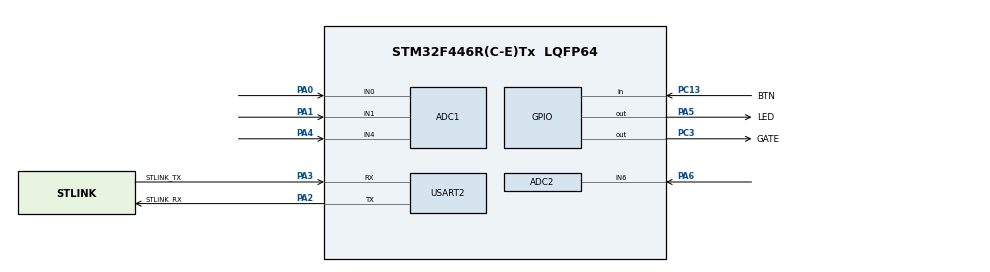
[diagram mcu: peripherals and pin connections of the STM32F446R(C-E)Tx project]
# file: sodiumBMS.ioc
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ADC1.Channel-0\#ChannelRegularConversion=ADC_CHANNEL_0
ADC1.Channel-1\#ChannelRegularConversion=ADC_CHANNEL_1
ADC1.Channel-2\#ChannelRegularConversion=ADC_CHANNEL_4
ADC1.ContinuousConvMode=ENABLE
ADC1.DMAContinuousRequests=ENABLE
ADC1.EOCSelection=ADC_EOC_SEQ_CONV
ADC1.InjNumberOfConversion=0
ADC1.NbrOfConversion=3
ADC1.NbrOfConversionFlag=1
ADC1.Rank-0\#ChannelRegularConversion=1
ADC1.Rank-1\#ChannelRegularConversion=2
ADC1.Rank-2\#ChannelRegularConversion=3
ADC1.SamplingTime-0\#ChannelRegularConversion=ADC_SAMPLETIME_144CYCLES
ADC1.SamplingTime-1\#ChannelRegularConversion=ADC_SAMPLETIME_144CYCLES
ADC1.SamplingTime-2\#ChannelRegularConversion=ADC_SAMPLETIME_144CYCLES
ADC1.ScanConvMode=ENABLE
ADC1.master=1
ADC2.Channel-0\#ChannelRegularConversion=ADC_CHANNEL_6
ADC2.NbrOfConversionFlag=1
ADC2.Rank-0\#ChannelRegularConversion=1
ADC2.SamplingTime-0\#ChannelRegularConversion=ADC_SAMPLETIME_3CYCLES
Dma.ADC1.0.Direction=DMA_PERIPH_TO_MEMORY
Dma.ADC1.0.FIFOMode=DMA_FIFOMODE_DISABLE
Dma.ADC1.0.Instance=DMA2_Stream0
Dma.ADC1.0.MemDataAlignment=DMA_MDATAALIGN_HALFWORD
Dma.ADC1.0.MemInc=DMA_MINC_ENABLE
Dma.ADC1.0.Mode=DMA_CIRCULAR
Dma.ADC1.0.PeriphDataAlignment=DMA_PDATAALIGN_HALFWORD
Dma.ADC1.0.PeriphInc=DMA_PINC_DISABLE
Dma.ADC1.0.Priority=DMA_PRIORITY_LOW
Dma.Request0=ADC1
Mcu.Family=STM32F4
Mcu.Name=STM32F446R(C-E)Tx
Mcu.Package=LQFP64
NVIC.DMA2_Stream0_IRQn=true\:0\:0\:false\:false\:true\:false\:true\:true
NVIC.PriorityGroup=NVIC_PRIORITYGROUP_4
PA0-WKUP.Signal=ADCx_IN0
PA1.Signal=ADCx_IN1
PA2.GPIO_Label=STLINK_RX
PA2.Mode=Asynchronous
PA2.Signal=USART2_TX
PA3.GPIO_Label=STLINK_TX
PA3.Mode=Asynchronous
PA3.Signal=USART2_RX
PA4.Signal=ADCx_IN4
PA5.GPIO_Label=LED
PA5.Signal=GPIO_Output
PA6.Signal=ADCx_IN6
PC13.GPIO_Label=BTN
PC13.GPIO_PuPd=GPIO_PULLUP
PC13.Signal=GPIO_Input
PC3.GPIO_Label=GATE
PC3.GPIO_PuPd=GPIO_NOPULL
PC3.Signal=GPIO_Output
ProjectManager.HeapSize=0x200
ProjectManager.StackSize=0x400
ProjectManager.TargetToolchain=CMake
RCC.CortexFreq_Value=16000000
RCC.USBFreq_Value=96000000
RCC.VCOOutputFreq_Value=192000000
SH.ADCx_IN0.0=ADC1_IN0,IN0
SH.ADCx_IN1.0=ADC1_IN1,IN1
SH.ADCx_IN4.0=ADC1_IN4,IN4
SH.ADCx_IN6.0=ADC2_IN6,IN6
USART2.VirtualMode=VM_ASYNC
board=custom

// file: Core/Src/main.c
/* USER CODE BEGIN Header */
/**
  ******************************************************************************
  * @file           : main.c
  * @brief          : Main program body
  ******************************************************************************
  * @attention
  *
  * Copyright (c) 2026 STMicroelectronics.
  * All rights reserved.
  *
  * This software is licensed under terms that can be found in the LICENSE file
  * in the root directory of this software component.
  * If no LICENSE file comes with this software, it is provided AS-IS.
  *
  ******************************************************************************
  */
/* USER CODE END Header */
#include "main.h"

/* USER CODE BEGIN Includes */
#include <stdio.h>
#include <string.h>

/* USER CODE END Includes */

ADC_HandleTypeDef hadc1;
ADC_HandleTypeDef hadc2;
DMA_HandleTypeDef hdma_adc1;

UART_HandleTypeDef huart2;

/* USER CODE BEGIN PV */
#define ADC_BUF_LEN 3
volatile uint8_t adc_ready = 0;
uint16_t volts=0;
char msg[64] = "THIS IS A AAAAAAAAAA";
uint16_t adc_buffer[ADC_BUF_LEN];
uint16_t cell1_voltage;
uint16_t cell2_voltage;
uint16_t cell3_voltage;
int bufferIndex = 0;
/* USER CODE END PV */

void SystemClock_Config(void);
static void MX_GPIO_Init(void);
static void MX_DMA_Init(void);
static void MX_USART2_UART_Init(void);
static void MX_ADC1_Init(void);
static void MX_ADC2_Init(void);

int main(void)
{

  /* MCU Configuration--------------------------------------------------------*/

  /* Reset of all peripherals, Initializes the Flash interface and the Systick. */
  HAL_Init();

  /* Configure the system clock */
  SystemClock_Config();

  /* Initialize all configured peripherals */
  MX_GPIO_Init();
  MX_DMA_Init();
  MX_USART2_UART_Init();
  MX_ADC1_Init();
  MX_ADC2_Init();
  /* USER CODE BEGIN 2 */
  snprintf(msg, sizeof(msg), "%s", "about to start adc\r\n");
  HAL_UART_Transmit(&huart2, (uint8_t *)msg, strlen(msg), 20);
  HAL_ADC_Start_DMA(&hadc1, (uint32_t *)adc_buffer, ADC_BUF_LEN);
  /* USER CODE END 2 */

  /* Infinite loop */
  /* USER CODE BEGIN WHILE */
  while (1)
  {

    uint16_t cell1_voltage = adc_buffer[0];
    sprintf(msg, "Potentiometer voltage: %hu \r\n", cell1_voltage);
    HAL_UART_Transmit(&huart2, (uint8_t *)msg, strlen(msg), HAL_MAX_DELAY);

    HAL_Delay(250);

    uint16_t cell2_voltage = adc_buffer[1];
    sprintf(msg, "Emitter voltage: %hu \r\n", cell2_voltage);
    HAL_UART_Transmit(&huart2, (uint8_t *)msg, strlen(msg), HAL_MAX_DELAY);

    uint16_t cell3_voltage = adc_buffer[2];
    sprintf(msg, "Voltage 3: %hu \r\n", cell3_voltage);

    HAL_UART_Transmit(&huart2, (uint8_t *)msg, strlen(msg), HAL_MAX_DELAY);

/*
    char *test = "Hello \r\n";
    HAL_UART_Transmit(&huart2, (uint8_t *)test, strlen(test), HAL_MAX_DELAY);
    */

    if (cell1_voltage > 2000) {

        HAL_GPIO_WritePin(GPIOC, GPIO_PIN_3, GPIO_PIN_RESET);
        char *status = "closing gate\r\n";
        HAL_UART_Transmit(&huart2, (uint8_t *)status, strlen(status), HAL_MAX_DELAY);

    }

    if (cell1_voltage < 2000) {
        HAL_GPIO_WritePin(GPIOC, GPIO_PIN_3, GPIO_PIN_SET);
        char *status = "opening gate\r\n";
        HAL_UART_Transmit(&huart2, (uint8_t *)status, strlen(status), HAL_MAX_DELAY);
    }

    /* USER CODE END WHILE */

  }
}

void SystemClock_Config(void)
{
  RCC_OscInitTypeDef RCC_OscInitStruct = {0};
  RCC_ClkInitTypeDef RCC_ClkInitStruct = {0};

  /** Configure the main internal regulator output voltage
  */
  __HAL_RCC_PWR_CLK_ENABLE();
  __HAL_PWR_VOLTAGESCALING_CONFIG(PWR_REGULATOR_VOLTAGE_SCALE3);

  /** Initializes the RCC Oscillators according to the specified parameters
  * in the RCC_OscInitTypeDef structure.
  */
  RCC_OscInitStruct.OscillatorType = RCC_OSCILLATORTYPE_HSI;
  RCC_OscInitStruct.HSIState = RCC_HSI_ON;
  RCC_OscInitStruct.HSICalibrationValue = RCC_HSICALIBRATION_DEFAULT;
  RCC_OscInitStruct.PLL.PLLState = RCC_PLL_NONE;
  if (HAL_RCC_OscConfig(&RCC_OscInitStruct) != HAL_OK)
  {
    Error_Handler();
  }

  /** Initializes the CPU, AHB and APB buses clocks
  */
  RCC_ClkInitStruct.ClockType = RCC_CLOCKTYPE_HCLK|RCC_CLOCKTYPE_SYSCLK
                              |RCC_CLOCKTYPE_PCLK1|RCC_CLOCKTYPE_PCLK2;
  RCC_ClkInitStruct.SYSCLKSource = RCC_SYSCLKSOURCE_HSI;
  RCC_ClkInitStruct.AHBCLKDivider = RCC_SYSCLK_DIV1;
  RCC_ClkInitStruct.APB1CLKDivider = RCC_HCLK_DIV1;
  RCC_ClkInitStruct.APB2CLKDivider = RCC_HCLK_DIV1;

  if (HAL_RCC_ClockConfig(&RCC_ClkInitStruct, FLASH_LATENCY_0) != HAL_OK)
  {
    Error_Handler();
  }
}

static void MX_ADC1_Init(void)
{

  ADC_ChannelConfTypeDef sConfig = {0};

  /** Configure the global features of the ADC (Clock, Resolution, Data Alignment and number of conversion)
  */
  hadc1.Instance = ADC1;
  hadc1.Init.ClockPrescaler = ADC_CLOCK_SYNC_PCLK_DIV2;
  hadc1.Init.Resolution = ADC_RESOLUTION_12B;
  hadc1.Init.ScanConvMode = ENABLE;
  hadc1.Init.ContinuousConvMode = ENABLE;
  hadc1.Init.DiscontinuousConvMode = DISABLE;
  hadc1.Init.ExternalTrigConvEdge = ADC_EXTERNALTRIGCONVEDGE_NONE;
  hadc1.Init.ExternalTrigConv = ADC_SOFTWARE_START;
  hadc1.Init.DataAlign = ADC_DATAALIGN_RIGHT;
  hadc1.Init.NbrOfConversion = 3;
  hadc1.Init.DMAContinuousRequests = ENABLE;
  hadc1.Init.EOCSelection = ADC_EOC_SEQ_CONV;
  if (HAL_ADC_Init(&hadc1) != HAL_OK)
  {
    Error_Handler();
  }

  /** Configure for the selected ADC regular channel its corresponding rank in the sequencer and its sample time.
  */
  sConfig.Channel = ADC_CHANNEL_0;
  sConfig.Rank = 1;
  sConfig.SamplingTime = ADC_SAMPLETIME_144CYCLES;
  if (HAL_ADC_ConfigChannel(&hadc1, &sConfig) != HAL_OK)
  {
    Error_Handler();
  }

  /** Configure for the selected ADC regular channel its corresponding rank in the sequencer and its sample time.
  */
  sConfig.Channel = ADC_CHANNEL_1;
  sConfig.Rank = 2;
  if (HAL_ADC_ConfigChannel(&hadc1, &sConfig) != HAL_OK)
  {
    Error_Handler();
  }

  /** Configure for the selected ADC regular channel its corresponding rank in the sequencer and its sample time.
  */
  sConfig.Channel = ADC_CHANNEL_4;
  sConfig.Rank = 3;
  if (HAL_ADC_ConfigChannel(&hadc1, &sConfig) != HAL_OK)
  {
    Error_Handler();
  }

}

static void MX_ADC2_Init(void)
{

  ADC_ChannelConfTypeDef sConfig = {0};

  /** Configure the global features of the ADC (Clock, Resolution, Data Alignment and number of conversion)
  */
  hadc2.Instance = ADC2;
  hadc2.Init.ClockPrescaler = ADC_CLOCK_SYNC_PCLK_DIV2;
  hadc2.Init.Resolution = ADC_RESOLUTION_12B;
  hadc2.Init.ScanConvMode = DISABLE;
  hadc2.Init.ContinuousConvMode = DISABLE;
  hadc2.Init.DiscontinuousConvMode = DISABLE;
  hadc2.Init.ExternalTrigConvEdge = ADC_EXTERNALTRIGCONVEDGE_NONE;
  hadc2.Init.ExternalTrigConv = ADC_SOFTWARE_START;
  hadc2.Init.DataAlign = ADC_DATAALIGN_RIGHT;
  hadc2.Init.NbrOfConversion = 1;
  hadc2.Init.DMAContinuousRequests = DISABLE;
  hadc2.Init.EOCSelection = ADC_EOC_SINGLE_CONV;
  if (HAL_ADC_Init(&hadc2) != HAL_OK)
  {
    Error_Handler();
  }

  /** Configure for the selected ADC regular channel its corresponding rank in the sequencer and its sample time.
  */
  sConfig.Channel = ADC_CHANNEL_6;
  sConfig.Rank = 1;
  sConfig.SamplingTime = ADC_SAMPLETIME_3CYCLES;
  if (HAL_ADC_ConfigChannel(&hadc2, &sConfig) != HAL_OK)
  {
    Error_Handler();
  }

}

static void MX_USART2_UART_Init(void)
{

  huart2.Instance = USART2;
  huart2.Init.BaudRate = 115200;
  huart2.Init.WordLength = UART_WORDLENGTH_8B;
  huart2.Init.StopBits = UART_STOPBITS_1;
  huart2.Init.Parity = UART_PARITY_NONE;
  huart2.Init.Mode = UART_MODE_TX_RX;
  huart2.Init.HwFlowCtl = UART_HWCONTROL_NONE;
  huart2.Init.OverSampling = UART_OVERSAMPLING_16;
  if (HAL_UART_Init(&huart2) != HAL_OK)
  {
    Error_Handler();
  }

}

static void MX_DMA_Init(void)
{

  /* DMA controller clock enable */
  __HAL_RCC_DMA2_CLK_ENABLE();

  /* DMA interrupt init */
  /* DMA2_Stream0_IRQn interrupt configuration */
  HAL_NVIC_SetPriority(DMA2_Stream0_IRQn, 0, 0);
  HAL_NVIC_EnableIRQ(DMA2_Stream0_IRQn);

}

static void MX_GPIO_Init(void)
{
  GPIO_InitTypeDef GPIO_InitStruct = {0};

  /* GPIO Ports Clock Enable */
  __HAL_RCC_GPIOC_CLK_ENABLE();
  __HAL_RCC_GPIOA_CLK_ENABLE();

  /*Configure GPIO pin Output Level */
  HAL_GPIO_WritePin(GATE_GPIO_Port, GATE_Pin, GPIO_PIN_RESET);

  /*Configure GPIO pin Output Level */
  HAL_GPIO_WritePin(LED_GPIO_Port, LED_Pin, GPIO_PIN_RESET);

  /*Configure GPIO pin : BTN_Pin */
  GPIO_InitStruct.Pin = BTN_Pin;
  GPIO_InitStruct.Mode = GPIO_MODE_INPUT;
  GPIO_InitStruct.Pull = GPIO_PULLUP;
  HAL_GPIO_Init(BTN_GPIO_Port, &GPIO_InitStruct);

  /*Configure GPIO pin : GATE_Pin */
  GPIO_InitStruct.Pin = GATE_Pin;
  GPIO_InitStruct.Mode = GPIO_MODE_OUTPUT_PP;
  GPIO_InitStruct.Pull = GPIO_NOPULL;
  GPIO_InitStruct.Speed = GPIO_SPEED_FREQ_LOW;
  HAL_GPIO_Init(GATE_GPIO_Port, &GPIO_InitStruct);

  /*Configure GPIO pin : LED_Pin */
  GPIO_InitStruct.Pin = LED_Pin;
  GPIO_InitStruct.Mode = GPIO_MODE_OUTPUT_PP;
  GPIO_InitStruct.Pull = GPIO_NOPULL;
  GPIO_InitStruct.Speed = GPIO_SPEED_FREQ_LOW;
  HAL_GPIO_Init(LED_GPIO_Port, &GPIO_InitStruct);

}

/* USER CODE BEGIN 4 */
/*
void HAL_ADC_ConvCpltCallback(ADC_HandleTypeDef* hadc)
{
    cell1_voltage = adc_buffer[0];
    cell2_voltage = adc_buffer[1];
    cell3_voltage = adc_buffer[2];
}
*/

// In callback:
/*
void HAL_ADC_ConvCpltCallback(ADC_HandleTypeDef* hadc) {
    if (hadc->Instance == ADC1) {
        cell1_voltage = adc_buffer[0];  // Rank 1 pin
        cell2_voltage = adc_buffer[1];  // Rank 2 pin
        cell3_voltage = adc_buffer[2];  // Rank 3 pin
        adc_ready = 1;
    }
    HAL_UART_Transmit(&huart2, (uint8_t *)msg, strlen(msg), 100);
    HAL_GPIO_TogglePin(LED_GPIO_Port, LED_Pin);

}
*/
/* USER CODE END 4 */

void Error_Handler(void)
{
  __disable_irq();
  while (1)
  {
  }
}
